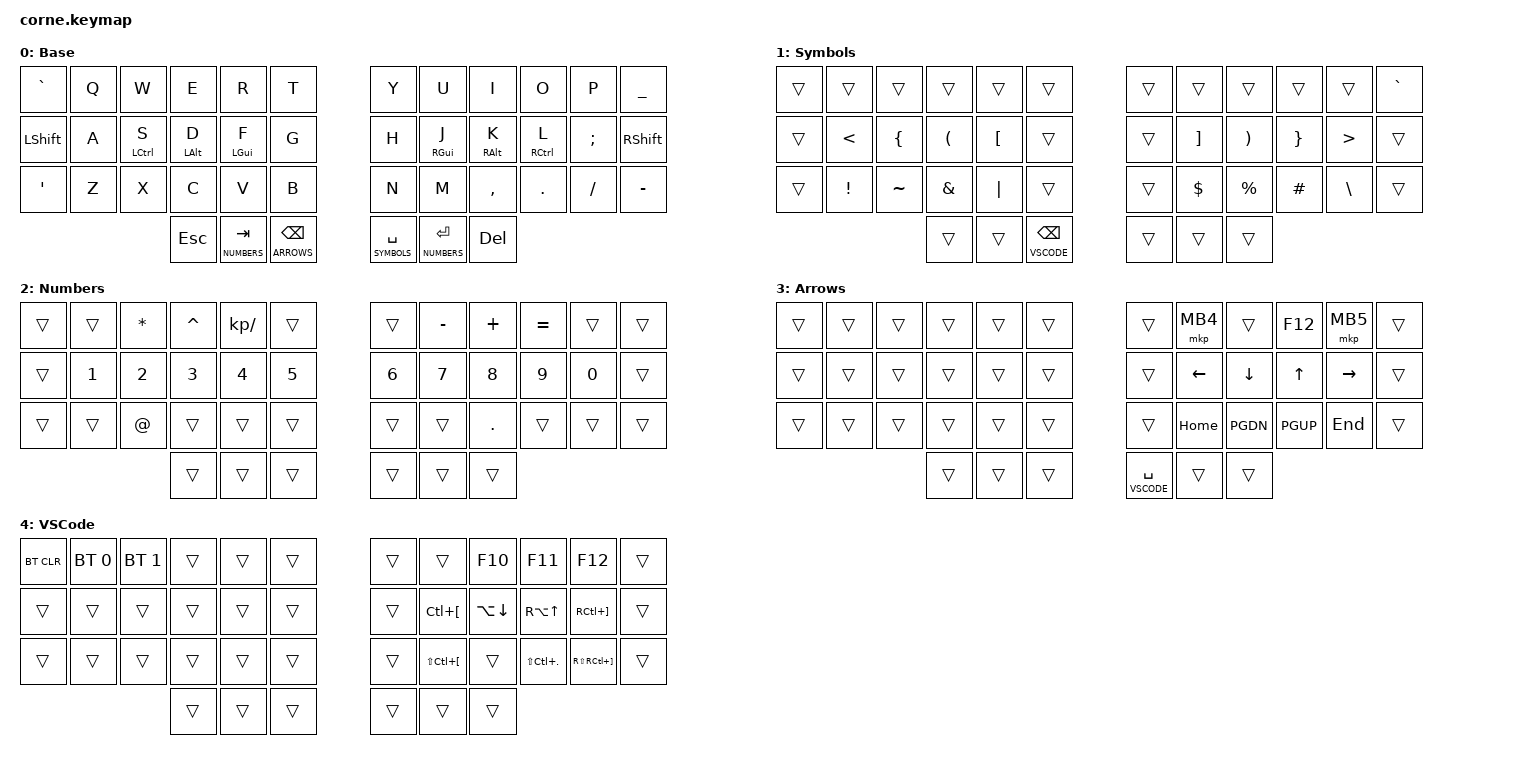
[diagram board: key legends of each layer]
/*
 * Copyright (c) 2020 The ZMK Contributors
 *
 * SPDX-License-Identifier: MIT
 */

#include <behaviors.dtsi>
#include <dt-bindings/zmk/keys.h>
#include <dt-bindings/zmk/bt.h>
#include <dt-bindings/zmk/pointing.h>

// Layer defines to make things a bit more descriptive
#define QWERTY 0
#define SYMBOLS 1  
#define NUMBERS 2
#define ARROWS 3
#define VSCODE 4
#define MOUSE 5 

#include "key_labels.h"                                                                // Source key-labels.
#define KEYS_L LT0 LT1 LT2 LT3 LT4 LT5 LM0 LM1 LM2 LM3 LM4 LM5 LB0 LB1 LB2 LB3 LB4 LB5 // Left-hand keys.
#define KEYS_R RT0 RT1 RT2 RT3 RT4 RT5 RM0 RM1 RM2 RM3 RM4 RM5 RB0 RB1 RB2 RB3 RB4 RB5 // Right-hand keys.
#define THUMBS LH2 LH1 LH0 RH0 RH1 RH2                                                 // Thumb keys.

/ {
        behaviors {
            hml: home_row_mod_left {
                compatible = "zmk,behavior-hold-tap";
                #binding-cells = <2>;
                flavor = "balanced";
                quick-tap-ms = <175>;
                require-prior-idle-ms = <150>;
                tapping-term-ms = <280>;
                bindings = <&kp>, <&kp>;
                hold-trigger-key-positions = <KEYS_R THUMBS>;
                hold-trigger-on-release;
            };
            hmr: home_row_mod_right {
                compatible = "zmk,behavior-hold-tap";
                #binding-cells = <2>;
                flavor = "balanced";
                quick-tap-ms = <175>;
                require-prior-idle-ms = <150>;
                tapping-term-ms = <280>;
                bindings = <&kp>, <&kp>;
                hold-trigger-key-positions = <KEYS_L THUMBS>;
                hold-trigger-on-release;
            };
        lt: layer_tap {
                compatible = "zmk,behavior-hold-tap";
                #binding-cells = <2>;
                flavor = "balanced";
                tapping-term-ms = <200>;
                bindings = <&mo>, <&kp>;
                display-name = "Layer-Tap";
                quick-tap-ms = <250>;
        };
        };
};

/ {
        keymap {
                compatible = "zmk,keymap";

                qwerty_layer {
                        // -----------------------------------------------------------------------------------------
                        // |  TAB |  Q  |  W  |  E  |  R  |  T  |   |  Y  |  U   |  I  |  O  |  P  | BKSP |
                        // | SHFT |  A  |S/ctl|D/alt|  F  |  G  |   |  H  |  J   |K/alt|L/ctl |  ;  |  SHFT   |
                        // | SHFT |  Z  |  X  |  C  |  V  |  B  |   |  N  |  M   |  ,  |  .  |  /  | ESC  |
                        //                    | GUI | LWR | SPC |   | SPC | RSE  | ALT |
                        display-name = "Base";
                        bindings = <
&kp GRAVE &kp Q       &kp W        &kp E            &kp R            &kp T             &kp Y           &kp U   &kp I      &kp O      &kp P         &kp UNDER
&kp LSHFT &kp A &hml LCTRL S &hml LALT D      &hml LGUI  F            &kp G             &kp H           &hmr RGUI J   &hmr RALT K &hmr RCTL L &kp SEMI &kp RSHFT
&kp APOS  &kp Z       &kp X        &kp C            &kp V            &kp B             &kp N           &kp M   &kp COMMA  &kp DOT    &kp FSLH      &kp MINUS
                      &kp ESC     &lt NUMBERS TAB  &lt ARROWS BKSP   &lt SYMBOLS SPACE &lt NUMBERS RET &kp DEL
                        >;
                };
                
                symbols_layer {
                        // -----------------------------------------------------------------------------------------
                        // |  TAB |  !  |  @  |  #  |  $  |  %  |   |  ^  |  &  |  *  |  (  |  )  | BKSP |
                        // | CTRL |     |     |     |     |     |   |  -  |  =  |  [  |  ]  |  \  |  `   |
                        // | SHFT |     |     |     |     |     |   |  _  |  +  |  {  |  }  | "|" |  ~   |
                        //                    | GUI |     | SPC |   | ENT |     | ALT |
                        display-name = "Symbols";
                        bindings = <
&trans    &trans   &trans    &trans   &trans   &trans   &trans    &trans    &trans    &trans    &trans    &kp GRAVE
&trans    &kp LT   &kp LBRC  &kp LPAR &kp LBKT &trans   &trans    &kp RBKT  &kp RPAR  &kp RBRC  &kp GT   &trans
&trans    &kp EXCL &kp TILDE &kp AMPS &kp PIPE &trans    &trans  &kp DLLR  &kp PRCNT &kp HASH  &kp  BSLH  &trans
                                &trans   &trans   &lt VSCODE BKSP  &trans   &trans    &trans
                        >;
                };
                numbers_layer {
                        // -----------------------------------------------------------------------------------------
                        // |  TAB |  1  |  2  |  3  |  4  |  5  |   |  6  |  7  |  8  |  9  |  0  | BKSP |
                        // | BTCLR| BT1 | BT2 | BT3 | BT4 | BT5 |   |     | LFT | DWN |  UP | RGT |     |      |
                        // | SHFT |     |     |     |     |     |   |     |     |     |     |     |      |
                        //                    | GUI |     | SPC |   | ENT |     | ALT |
                        display-name = "Numbers";
                        bindings = <
&trans     &trans       &kp STAR     &kp CARET    &kp KP_DIVIDE &trans    &trans    &kp MINUS &kp PLUS   &kp EQUAL  &trans    &trans
&trans     &kp N1       &kp N2       &kp N3       &kp N4        &kp N5    &kp N6    &kp N7    &kp N8     &kp N9     &kp N0    &trans
&trans     &trans       &kp AT       &trans       &trans        &trans    &trans    &trans    &kp DOT    &trans     &trans    &trans
                        &trans       &trans       &trans        &trans    &trans    &trans
                        >;
                };


                arrow_layer {
                        display-name = "Arrows";
                        /*
                        // Arrows & Nav Layer
                        */
            
                        bindings = <
                            &trans    &trans    &trans    &trans    &trans    &trans         &trans    &mkp MB4  &trans    &kp F12    &mkp MB5     &trans
                            &trans    &trans    &trans    &trans    &trans    &trans         &trans    &kp LEFT  &kp DOWN  &kp UP    &kp RIGHT &trans
                            &trans    &trans    &trans    &trans    &trans    &trans         &trans    &kp HOME  &kp PGDN  &kp PGUP  &kp END   &trans
            
                                        &trans       &trans        &trans         &lt VSCODE SPACE        &trans        &trans
                        >;
                    };
            
                    vscode_layer {
                        display-name = "VSCode";
                        /*
                        // VS Code Shortcuts (placeholder - add specific shortcuts as needed)
                        */
            
                        bindings = <
                            &bt BT_CLR   &bt BT_SEL 0   &bt BT_SEL 1    &trans    &trans    &trans         &trans    &trans            &kp F10      &kp F11         &kp F12    &trans
                            &trans    &trans    &trans    &trans    &trans    &trans         &trans    &kp LC(LBKT)      &kp LA(DOWN) &kp RA(UP)      &kp RC(RBKT)     &trans
                            &trans    &trans    &trans    &trans    &trans    &trans         &trans    &kp LS(LC(LBKT))  &trans       &kp LS(LC(DOT)) &kp RS(RC(RBKT)) &trans
            
                                                &trans       &trans        &trans            &trans      &trans        &trans
                        >;
                    };
            

                extra_3 {
                        status = "reserved";
                };
        };
};
